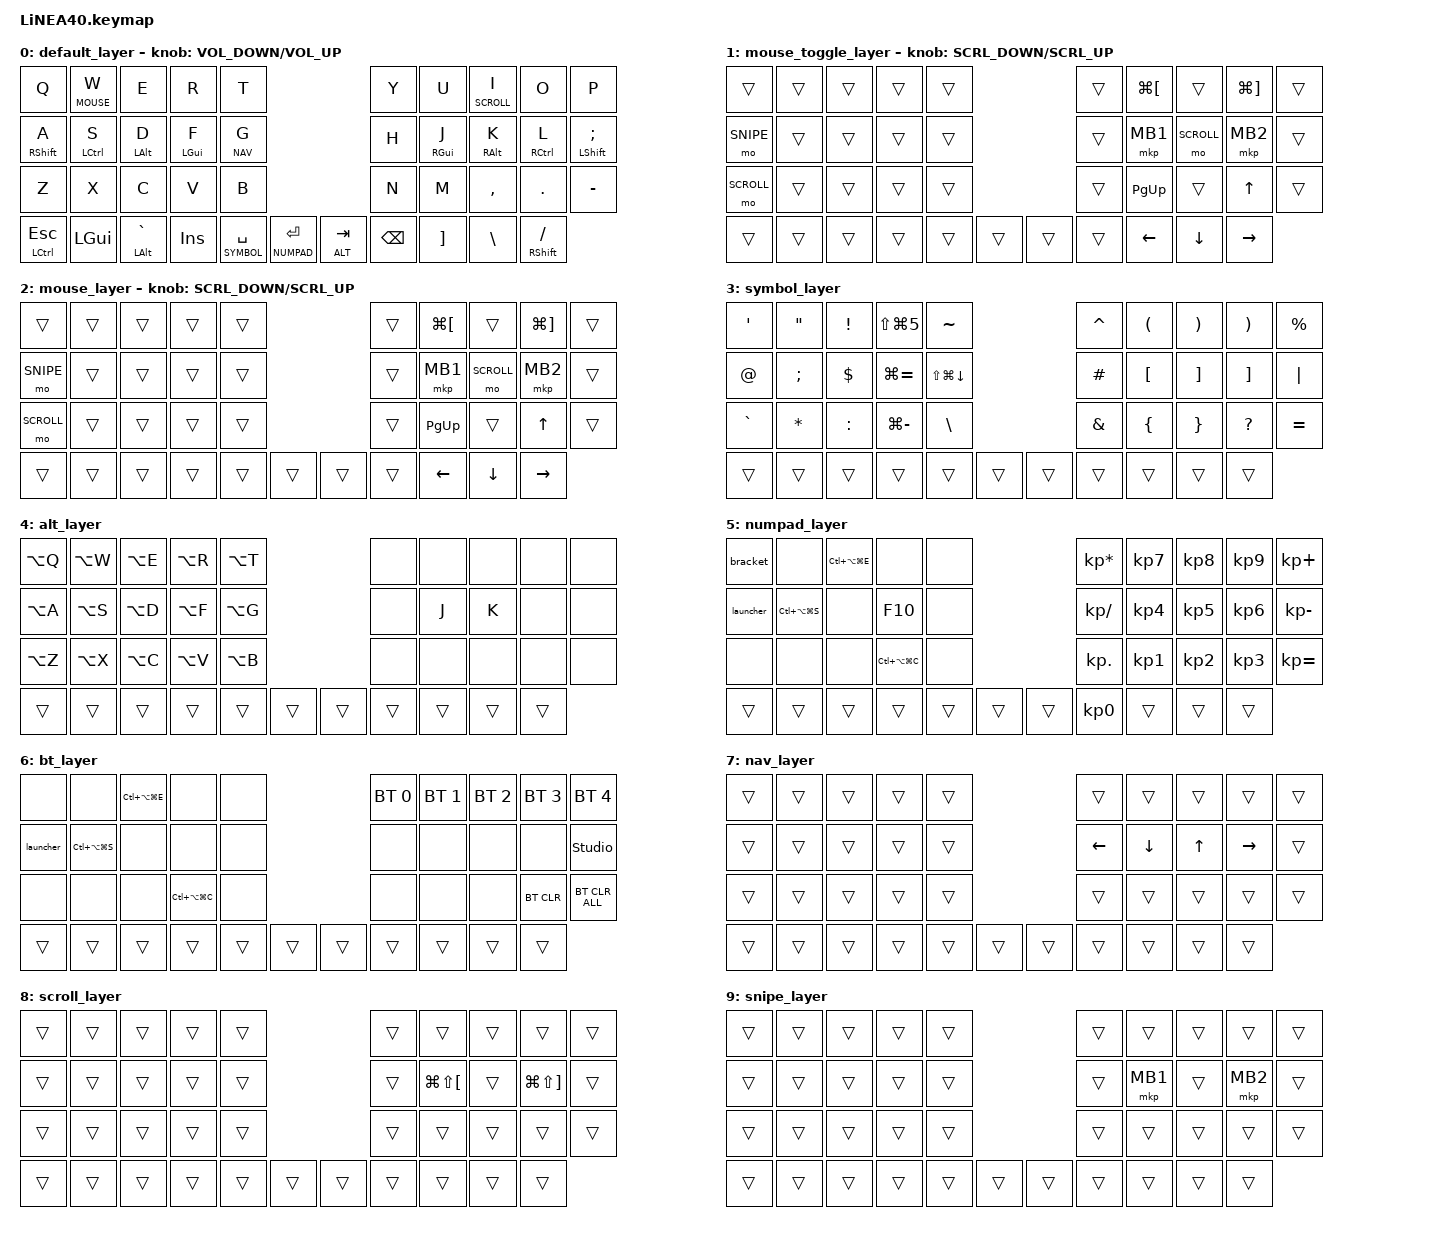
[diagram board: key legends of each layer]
#define ZMK_POINTING_DEFAULT_MOVE_VAL 1500
#define ZMK_POINTING_DEFAULT_SCRL_VAL 150

#include <dt-bindings/zmk/input_transform.h>
#include <input/processors.dtsi>
#include <zephyr/dt-bindings/input/input-event-codes.h>
#include <behaviors.dtsi>
#include <dt-bindings/zmk/bt.h>
#include <dt-bindings/zmk/keys.h>
#include <dt-bindings/zmk/pointing.h>

#define DEFAULT   0
#define MOUSE_TOG 1
#define MOUSE     2
#define SYMBOL    3
#define ALT       4
#define NUMPAD    5
#define BT        6
#define NAV       7
#define SCROLL    8
#define SNIPE     9

&mmv {
    delay-ms = <20>;
    trigger-period-ms = <5>;
    time-to-max-speed-ms = <100>;
    acceleration-exponent = <2>;
};

&msc {
    delay-ms = <3>;
    trigger-period-ms = <3>;
    time-to-max-speed-ms = <100>;
    acceleration-exponent = <0>;
};

/ {
    input_processors {
        zip_wheel_scaler: zip_wheel_scaler {
            compatible = "zmk,input-processor-scaler";
            #input-processor-cells = <2>;
            type = <INPUT_EV_REL>;
            codes = <INPUT_REL_WHEEL>;
            track-remainders;
        };
    };
};

&trackball_listener {
    scroller {
        layers = <SCROLL>;
        input-processors =
            <&zip_xy_transform INPUT_TRANSFORM_Y_INVERT>,
            <&zip_xy_to_scroll_mapper>;
    };
};

/ {
    behaviors {
        hml: homerow_mod_left {
            compatible = "zmk,behavior-hold-tap";
            #binding-cells = <2>;
            flavor = "balanced";
            tapping-term-ms = <280>;
            quick-tap-ms = <175>;
            require-prior-idle-ms = <150>;
            bindings = <&kp>, <&kp>;
            hold-trigger-key-positions = <5 6 7 8 9 15 16 17 18 19 25 26 27 28 29 36 37 38 39 40>;
            hold-trigger-on-release;
        };

        hmr: homerow_mod_right {
            compatible = "zmk,behavior-hold-tap";
            #binding-cells = <2>;
            flavor = "balanced";
            tapping-term-ms = <280>;
            quick-tap-ms = <175>;
            require-prior-idle-ms = <150>;
            bindings = <&kp>, <&kp>;
            hold-trigger-key-positions = <0 1 2 3 4 10 11 12 13 14 20 21 22 23 24 30 31 32 33 34 35>;
            hold-trigger-on-release;
        };

        re_kp: sensor_rotate_kp {
            compatible = "zmk,behavior-sensor-rotate-var";
            #sensor-binding-cells = <2>;
            bindings = <&kp>, <&kp>;
        };

        mouse_scrl: mouse_wheel_scrl {
            compatible = "zmk,behavior-sensor-rotate-var";
            #sensor-binding-cells = <2>;
            bindings = <&msc>, <&msc>;
            tap-ms = <20>;
        };
    };

    macros {
        bracket: bracket {
            compatible = "zmk,behavior-macro";
            #binding-cells = <0>;
            wait-ms = <30>;
            tap-ms = <30>;
            bindings
                = <&kp LANG2>
                , <&macro_press &kp LSHFT>
                , <&macro_tap &kp N9 &kp N0>
                , <&macro_release &kp LSHFT>
                , <&macro_tap &kp LEFT &kp LANG1>
                ;
        };

        launcher: launcher {
            compatible = "zmk,behavior-macro";
            #binding-cells = <0>;
            wait-ms = <30>;
            tap-ms = <30>;
            bindings
                = <&macro_press &kp LALT &kp LGUI>
                , <&macro_tap &kp SPACE>
                , <&macro_release &kp LALT &kp LGUI>
                ;
        };
    };

    combos {
        compatible = "zmk,combos";

        combo_capslock {
            timeout-ms = <50>;
            require-prior-idle-ms = <125>;
            key-positions = <13 16>;
            bindings = <&kp CAPSLOCK>;
        };

        combo_printscreen {
            timeout-ms = <50>;
            require-prior-idle-ms = <125>;
            key-positions = <6 7 8>;
            bindings = <&kp PRINTSCREEN>;
        };

        combo_lang2 {
            timeout-ms = <50>;
            require-prior-idle-ms = <125>;
            key-positions = <12 13>;
            bindings = <&kp LANG2>;
        };

        combo_lang1 {
            timeout-ms = <50>;
            require-prior-idle-ms = <125>;
            key-positions = <16 17>;
            bindings = <&kp LANG1>;
        };

        combo_mouse_toggle {
            timeout-ms = <80>;
            require-prior-idle-ms = <125>;
            key-positions = <16 17 18>;
            bindings = <&tog MOUSE_TOG>;
        };
    };

    keymap {
        compatible = "zmk,keymap";

        /* Layer 0: Default (QWERTY + Homerow Mods) */
        default_layer {
            bindings = <
&kp Q           &lt MOUSE W     &kp E           &kp R           &kp T                                       &kp Y       &kp U           &lt SCROLL I    &kp O           &kp P
&hml RSHFT A    &hml LCTRL S    &hml LALT D     &hml LGUI F     &lt NAV G                                   &kp H       &hmr RGUI J     &hmr RALT K     &hmr RCTRL L    &hmr LSHFT SEMI
&kp Z           &kp X           &kp C           &kp V           &kp B                                       &kp N       &kp M           &kp COMMA       &kp DOT         &kp MINUS
&mt LCTRL ESC   &kp LGUI        &mt LALT GRAVE  &kp INS         &lt SYMBOL SPACE &lt NUMPAD ENTER &lt ALT TAB &kp BSPC                    &kp RBKT        &kp BSLH        &mt RSHFT FSLH
            >;
            sensor-bindings = <&re_kp C_VOLUME_DOWN C_VOLUME_UP>;
        };

        /* Layer 1: Mouse Toggle (J+K+L combo, manual sticky) */
        mouse_toggle_layer {
            bindings = <
&trans      &trans      &trans      &trans      &trans                              &trans      &kp LG(LBKT) &trans      &kp LG(RBKT) &trans
&mo SNIPE   &trans      &trans      &trans      &trans                              &trans      &mkp MB1     &mo SCROLL  &mkp MB2     &trans
&mo SCROLL  &trans      &trans      &trans      &trans                              &trans      &kp PG_UP    &trans      &kp UP       &trans
&trans      &trans      &trans      &trans      &trans      &trans      &trans      &trans                   &kp LEFT    &kp DOWN     &kp RIGHT
            >;
            sensor-bindings = <&mouse_scrl SCRL_DOWN SCRL_UP>;
        };

        /* Layer 2: Mouse (W-hold) */
        mouse_layer {
            bindings = <
&trans      &trans      &trans      &trans      &trans                              &trans      &kp LG(LBKT) &trans      &kp LG(RBKT) &trans
&mo SNIPE   &trans      &trans      &trans      &trans                              &trans      &mkp MB1     &mo SCROLL  &mkp MB2     &trans
&mo SCROLL  &trans      &trans      &trans      &trans                              &trans      &kp PG_UP    &trans      &kp UP       &trans
&trans      &trans      &trans      &trans      &trans      &trans      &trans      &trans                   &kp LEFT    &kp DOWN     &kp RIGHT
            >;
            sensor-bindings = <&mouse_scrl SCRL_DOWN SCRL_UP>;
        };

        /* Layer 3: Symbol (Corchibi physical mapping) */
        symbol_layer {
            bindings = <
&kp SQT     &kp DQT     &kp EXCL    &kp LS(LG(N5))  &kp TILDE                       &kp CARET   &kp LPAR    &kp RPAR    &kp RPAR    &kp PRCNT
&kp AT      &kp SEMI    &kp DLLR    &kp LG(EQUAL)   &kp LS(LG(DOWN))                &kp HASH    &kp LBKT    &kp RBKT    &kp RBKT    &kp PIPE
&kp GRAVE   &kp STAR    &kp COLON   &kp LG(MINUS)   &kp BSLH                        &kp AMPS    &kp LBRC    &kp RBRC    &kp QMARK   &kp EQUAL
&trans      &trans      &trans      &trans          &trans      &trans  &trans      &trans                  &trans      &trans      &trans
            >;
        };

        /* Layer 4: Alt (Aerospace) */
        alt_layer {
            bindings = <
&kp LA(Q)   &kp LA(W)   &kp LA(E)   &kp LA(R)   &kp LA(T)                           &none       &none       &none       &none       &none
&kp LA(A)   &kp LA(S)   &kp LA(D)   &kp LA(F)   &kp LA(G)                           &none       &kp J       &kp K       &none       &none
&kp LA(Z)   &kp LA(X)   &kp LA(C)   &kp LA(V)   &kp LA(B)                           &none       &none       &none       &none       &none
&trans      &trans      &trans      &trans      &trans      &trans      &trans      &trans                  &trans      &trans      &trans
            >;
        };

        /* Layer 5: Numpad */
        numpad_layer {
            bindings = <
&bracket    &none       &kp LC(LA(LG(E)))   &none       &none                       &kp KP_MULTIPLY &kp KP_N7   &kp KP_N8   &kp KP_N9   &kp KP_PLUS
&launcher   &kp LC(LA(LG(S)))   &none       &kp F10     &none                       &kp KP_DIVIDE   &kp KP_N4   &kp KP_N5   &kp KP_N6   &kp KP_MINUS
&none       &none       &none       &kp LC(LA(LG(C)))   &none                       &kp KP_DOT      &kp KP_N1   &kp KP_N2   &kp KP_N3   &kp KP_EQUAL
&trans      &trans      &trans      &trans      &trans      &trans      &trans      &kp KP_N0                   &trans      &trans      &trans
            >;
        };

        /* Layer 6: BT & Special */
        bt_layer {
            bindings = <
&none       &none       &kp LC(LA(LG(E)))   &none       &none                               &bt BT_SEL 0    &bt BT_SEL 1    &bt BT_SEL 2    &bt BT_SEL 3    &bt BT_SEL 4
&launcher   &kp LC(LA(LG(S)))   &none       &none       &none                               &none           &none           &none           &none           &studio_unlock
&none       &none       &none       &kp LC(LA(LG(C)))   &none                               &none           &none           &none           &bt BT_CLR      &bt BT_CLR_ALL
&trans      &trans      &trans      &trans      &trans      &trans      &trans      &trans                                  &trans          &trans          &trans
            >;
        };

        /* Layer 7: Nav (HJKL via G-hold) */
        nav_layer {
            bindings = <
&trans      &trans      &trans      &trans      &trans                              &trans      &trans      &trans      &trans      &trans
&trans      &trans      &trans      &trans      &trans                              &kp LEFT    &kp DOWN    &kp UP      &kp RIGHT   &trans
&trans      &trans      &trans      &trans      &trans                              &trans      &trans      &trans      &trans      &trans
&trans      &trans      &trans      &trans      &trans      &trans      &trans      &trans                  &trans      &trans      &trans
            >;
        };

        /* Layer 8: Scroll (trackball Y -> scroll, via I-hold or K-hold in mouse) */
        scroll_layer {
            bindings = <
&trans      &trans      &trans      &trans      &trans                              &trans      &trans              &trans  &trans              &trans
&trans      &trans      &trans      &trans      &trans                              &trans      &kp LG(LS(LBKT))    &trans  &kp LG(LS(RBKT))    &trans
&trans      &trans      &trans      &trans      &trans                              &trans      &trans              &trans  &trans              &trans
&trans      &trans      &trans      &trans      &trans      &trans      &trans      &trans                          &trans  &trans              &trans
            >;
        };

        /* Layer 9: Snipe (slow cursor, J=MB1 / L=MB2) */
        snipe_layer {
            bindings = <
&trans      &trans      &trans      &trans      &trans                              &trans      &trans      &trans      &trans      &trans
&trans      &trans      &trans      &trans      &trans                              &trans      &mkp MB1    &trans      &mkp MB2    &trans
&trans      &trans      &trans      &trans      &trans                              &trans      &trans      &trans      &trans      &trans
&trans      &trans      &trans      &trans      &trans      &trans      &trans      &trans                  &trans      &trans      &trans
            >;
        };
    };
};
